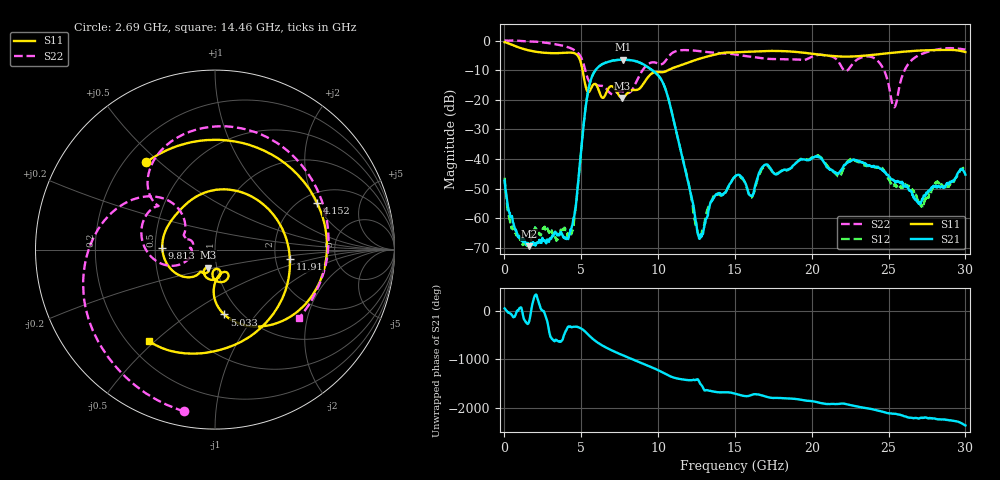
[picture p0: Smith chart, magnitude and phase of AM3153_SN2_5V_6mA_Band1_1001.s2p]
!Agilent Technologies,E8364B,MY43040894,A.07.50.67
!Agilent E8364B: A.07.50.67
!Date: Tuesday, May 12, 2020 09:45:26
!Correction: S11(Full 2 Port(1,2))
!S21(Full 2 Port(1,2))
!S12(Full 2 Port(1,2))
!S22(Full 2 Port(1,2))
!S2P File: Measurements: S11, S21, S12, S22:
# Hz S  dB  R 50
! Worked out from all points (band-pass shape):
!   1601 points, 10 MHz to 30 GHz, reference 50 ohm
!   highest |S21| = -6.46 dB at 7.695 GHz (marker M1); lowest = -69.5 dB at 1.603 GHz (marker M2)
!   |S21| within 3 dB of the highest: 6.008 GHz to 9.475 GHz (3.467 GHz wide, 44.8 % of centre)
!   lowest |S11| = -19.4 dB at 7.657 GHz (marker M3), VSWR 1.24, Z = 45.3 - j9.17 ohm
!   |S11| at or under -10 dB: 5.081 GHz to 10.65 GHz (5.571 GHz wide, 70.8 % of centre)
!   |S22| runs from -22.5 to 0.0 dB; largest |S21 - S12| = 0.0055
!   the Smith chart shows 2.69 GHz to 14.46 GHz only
!   S11 on the Smith chart (normalised r, x): 2.69 GHz: 0.29, +0.45; 4.152 GHz: 2.42, +2.05; 5.033 GHz: 0.84, -0.70; 9.813 GHz: 0.55, +0.01; 11.91 GHz: 2.41, -0.30; 14.46 GHz: 0.28, -0.48
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1e7  -0.55 -8.9  -47.33 49.5  -46.32 17.1  0.03 -2.2
1.603219e9  -3.33 -161.0  -69.47 136.9  -68.85 -143.2  -0.28 -59.8
2.690356e9  -4.16 128.2  -68.16 -127.6  -63.80 115.7  -0.75 -100.8
4.152369e9  -4.07 24.4  -67.08 33.5  -65.81 41.5  -2.26 -162.0
5.014581e9  -8.33 -79.5  -35.79 -8.6  -35.77 -8.1  -5.94 144.6
5.033325e9  -8.76 -81.9  -34.76 -12.7  -34.74 -12.1  -6.16 143.2
5.764331e9  -14.98 -67.4  -11.38 137.4  -11.39 137.7  -14.31 155.1
6.476594e9  -19.12 -80.6  -7.71 -13.8  -7.71 -13.6  -15.57 160.2
7.65745e9  -19.38 -111.5  -6.47 169.9  -6.48 170.1  -17.13 175.8
7.694938e9  -19.34 -110.2  -6.46 164.8  -6.48 165.1  -17.19 175.7
8.838306e9  -15.99 -123.8  -7.49 15.0  -7.55 15.4  -11.33 -160.8
9.812981e9  -10.63 177.8  -10.81 -115.1  -10.80 -114.1  -7.42 150.7
1.001916e10  -10.60 159.5  -11.86 -145.8  -11.83 -145.0  -7.82 143.9
1.191228e10  -7.52 -7.0  -46.76 14.4  -46.54 13.4  -3.21 68.1
1.273701e10  -6.08 -55.3  -66.80 -60.6  -65.53 34.1  -3.61 30.3
1.446143e10  -4.04 -125.5  -50.70 123.5  -50.58 118.8  -4.39 -39.1
1.5005e10  -3.98 -143.2  -45.93 93.0  -45.99 89.6  -4.69 -61.9
1.798526e10  -3.55 127.4  -44.28 4.0  -44.19 8.1  -6.31 176.5
2.000958e10  -4.44 55.3  -39.88 -61.1  -39.49 -62.3  -5.47 38.1
2.134039e10  -5.20 -0.1  -43.85 -118.8  -43.81 -124.1  -5.44 -76.9
2.501416e10  -4.25 -150.3  -45.79 49.5  -46.88 46.3  -15.18 124.4
3e10  -3.88 78.6  -45.29 158.9  -42.60 168.2  -3.05 93.7
